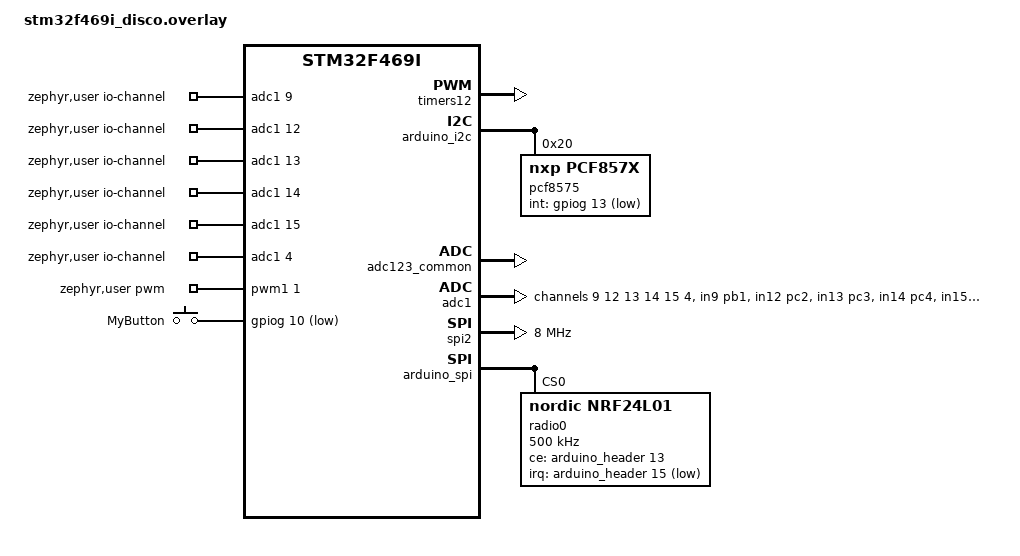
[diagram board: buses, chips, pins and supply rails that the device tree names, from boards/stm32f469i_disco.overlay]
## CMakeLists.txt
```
#-------------------------------------------------------------------------------
# Zephyr Example Application
#
# Copyright (c) 2021 Nordic Semiconductor ASA
# SPDX-License-Identifier: Apache-2.0

cmake_minimum_required(VERSION 3.20.0)
set(SYSCALL_INCLUDE_DIRS "${CMAKE_CURRENT_SOURCE_DIR}/../include")

find_package(Zephyr REQUIRED HINTS $ENV{ZEPHYR_BASE})
include_directories(ui)
project(app LANGUAGES C)
file(GLOB SOURCES src/main.c src/model.c src/model_fs.c src/display_services.c src/platform.h ui/*.h ui/*.c)
target_sources(app PRIVATE ${SOURCES})
```

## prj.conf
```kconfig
# Copyright (c) 2021 Nordic Semiconductor ASA
# SPDX-License-Identifier: Apache-2.0
#
# This file contains selected Kconfig options for the application.

CONFIG_SPI=y
CONFIG_NRF24L01=y
CONFIG_NRF24L01_TRIGGER=y

CONFIG_DMA=y
CONFIG_ADC=y
CONFIG_ADC_STM32_DMA=y
CONFIG_ADC_ASYNC=y
CONFIG_PWM=y

CONFIG_FILE_SYSTEM=y
CONFIG_FILE_SYSTEM_LITTLEFS=y

CONFIG_MIPI_DSI_INIT_PRIORITY=85
CONFIG_DISPLAY_INIT_PRIORITY=86
CONFIG_DISPLAY_OTM8009A_INIT_PRIORITY=87

CONFIG_FLASH=y
CONFIG_FLASH_LOG_LEVEL_DBG=n
CONFIG_FLASH_MAP=y
CONFIG_FLASH_PAGE_LAYOUT=y
CONFIG_MPU_ALLOW_FLASH_WRITE=y
CONFIG_FS_LITTLEFS_FC_HEAP_SIZE=16384

CONFIG_HEAP_MEM_POOL_SIZE=8192

CONFIG_LV_Z_MEM_POOL_SIZE=65536
CONFIG_LV_Z_SHELL=n

CONFIG_MAIN_STACK_SIZE=32768

CONFIG_DISPLAY=y
CONFIG_DISPLAY_LOG_LEVEL_ERR=n

CONFIG_INPUT=y
# CONFIG_INPUT_MODE_THREAD=y

CONFIG_LOG=y
CONFIG_SHELL=n
CONFIG_SYSTEM_WORKQUEUE_PRIORITY=0

CONFIG_GPIO=y
CONFIG_I2C=y
# CONFIG_GPIO_PCF857X=y

CONFIG_SYSTEM_WORKQUEUE_STACK_SIZE=2048

CONFIG_LVGL=y
# CONFIG_LV_USE_DRAW_DMA2D=y
# CONFIG_LV_USE_DRAW_DMA2D_INTERRUPT=y
CONFIG_LV_USE_LOG=y
CONFIG_LV_USE_LABEL=y
CONFIG_LV_USE_ARC=y
#CONFIG_LV_USE_BTN=y
#CONFIG_LV_USE_BTNMATRIX=y
CONFIG_LV_USE_BAR=y
#CONFIG_LV_USE_IMG=y
CONFIG_LV_USE_SWITCH=y
CONFIG_LV_USE_TABVIEW=y
#CONFIG_LV_USE_TAB=y
CONFIG_LV_USE_MONKEY=y
CONFIG_LV_FONT_MONTSERRAT_18=y
CONFIG_LV_FONT_MONTSERRAT_24=y
CONFIG_LV_FONT_MONTSERRAT_40=y
```

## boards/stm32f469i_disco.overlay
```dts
/*
 * Copyright (c) 2025 Philippe Peurichard
 * SPDX-License-Identifier: Apache-2.0
 */

/ {
	zephyr,user {
		/* adjust channel number according to pinmux in board.dts */
		io-channels = <&adc1 9>, <&adc1 12>,
			<&adc1 13>, <&adc1 14>,
			<&adc1 15>, <&adc1 4>;

		/* period cell corresponds to initial period */
		pwms = <&pwm1 1 PWM_HZ(1000) PWM_POLARITY_NORMAL>;
	};

	gpio_keys {
		compatible = "gpio-keys";

		user_button: button {
			label = "MyButton";
			gpios = <&gpiog 10 (GPIO_ACTIVE_LOW|GPIO_PULL_UP)>;
			/* zephyr,code = <INPUT_KEY_0>;*/
		};
	};
};

&flash0 {
	partitions {
		compatible = "fixed-partitions";
		#address-cells = <1>;
		#size-cells = <1>;

		/* Reserve the final two 128 KiB flash sectors for LittleFS. */
		storage_partition: partition@100000 {
			label = "storage";
			reg = <0x100000 DT_SIZE_K(1024)>;
		};
	};
};

&timers12 {
	st,prescaler = <8>;
	status = "okay";

	pwm1: pwm {
		pinctrl-0 = <&tim12_ch1_ph6>;
		pinctrl-names = "default";
		#pwm-cells = <3>;
		status = "okay";
	};
};


/* Activation I2C1 (Arduino connector) */
&arduino_i2c {
    status = "okay";

    pcf8575: gpio_expander@20 {
        compatible = "nxp,pcf857x";
        reg = <0x20>;
        gpio-controller;
        #gpio-cells = <2>;
		ngpios = <16>;
		int-gpios = <&gpiog 13 GPIO_ACTIVE_LOW>;
        status = "okay";
    };
};


&dma2 {
	status = "okay";
};

&adc123_common {
	st,adc-prescaler = <2>;
    status = "okay";
};

&adc1 {
	#address-cells = <1>;
	#size-cells = <0>;
	status = "okay";
	pinctrl-0 = <&adc1_in9_pb1>, <&adc1_in12_pc2>,
		<&adc1_in13_pc3>, <&adc1_in14_pc4>,
		<&adc1_in15_pc5>, <&adc1_in4_pa4>;
	pinctrl-names = "default";

	dmas = <&dma2 0 0 (STM32_DMA_PERIPH_RX | STM32_DMA_PERIPH_16BITS | STM32_DMA_MEM_16BITS ) STM32_DMA_FIFO_FULL>;
	dma-names = "dma";

	channel@9 {
		reg = <9>;
		zephyr,gain = "ADC_GAIN_1";
		zephyr,reference = "ADC_REF_INTERNAL";
		zephyr,acquisition-time = <ADC_ACQ_TIME_MAX>;
		zephyr,resolution = <12>;
	};
	channel@c {
		reg = <0xc>;
		zephyr,gain = "ADC_GAIN_1";
		zephyr,reference = "ADC_REF_INTERNAL";
		zephyr,acquisition-time = <ADC_ACQ_TIME_MAX>;
		zephyr,resolution = <12>;
	};
	channel@d {
		reg = <0xd>;
		zephyr,gain = "ADC_GAIN_1";
		zephyr,reference = "ADC_REF_INTERNAL";
		zephyr,acquisition-time = <ADC_ACQ_TIME_MAX>;
		zephyr,resolution = <12>;
	};
	channel@e {
		reg = <0xe>;
		zephyr,gain = "ADC_GAIN_1";
		zephyr,reference = "ADC_REF_INTERNAL";
		zephyr,acquisition-time = <ADC_ACQ_TIME_MAX>;
		zephyr,resolution = <12>;
	};
	channel@f {
		reg = <0xf>;
		zephyr,gain = "ADC_GAIN_1";
		zephyr,reference = "ADC_REF_INTERNAL";
		zephyr,acquisition-time = <ADC_ACQ_TIME_MAX>;
		zephyr,resolution = <12>;
	};
	channel@4 {
		reg = <4>;
		zephyr,gain = "ADC_GAIN_1";
		zephyr,reference = "ADC_REF_INTERNAL";
		zephyr,acquisition-time = <ADC_ACQ_TIME_MAX>;
		zephyr,resolution = <12>;
	};
};

&spi2 {
	cs-gpios = <&arduino_header 10 (GPIO_ACTIVE_LOW|GPIO_PULL_UP)>;
	clock-frequency = <8000000>; // Max 8 Mbps for SPI

};

&ltdc {
	display-controller = <&panel>;
};

&arduino_spi {
	radio0: nrf24@0 {
		reg = <0>;
		compatible = "nordic,nrf24l01";
		status = "okay";
		addr-width = <5>;
		spi-max-frequency = <500000>; // Max 8 Mbps for SPI
		ce-gpios = <&arduino_header 13 GPIO_ACTIVE_HIGH>; /* D7 */
		irq-gpios = <&arduino_header 15 GPIO_ACTIVE_LOW>; /* D9 */
		channel-frequency = <76>;
		lna-gain;
		rf-power-attenuation = <18>;
		tx-address = [01 00 00 00 01]; // [ab cd ab cd 71];
		payload-fixed-size = <32>;
		rx-datapipes-number = <2>;
		rx-datapipe0-address = [01 00 00 00 01]; // [ab cd ab cd 71];
		rx-datapipe1-address = [ff 00 00 00 ff]; // [ab cd ab cd 72];
		/* payload-ack; */
		payload-crc;
		crc-encoding-twobytes;
	};
};
```

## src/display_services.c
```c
/*
 * Copyright (c) 2026 Philippe Peurichard
 * SPDX-License-Identifier: Apache-2.0
 */

#include "display_services.h"

#include <errno.h>

#include <zephyr/drivers/display.h>
#include <zephyr/logging/log.h>

LOG_MODULE_REGISTER(display_services, CONFIG_LOG_DEFAULT_LEVEL);

static int schedule_timeout_locked(struct display_idle_service *service)
{
	int rc = k_work_reschedule(&service->timeout_work,
				   K_MSEC(service->inactivity_timeout_ms));

	return rc < 0 ? rc : 0;
}

static void display_idle_timeout(struct k_work *work)
{
	struct k_work_delayable *delayable = k_work_delayable_from_work(work);
	struct display_idle_service *service =
		CONTAINER_OF(delayable, struct display_idle_service, timeout_work);
	int rc;

	k_mutex_lock(&service->lock, K_FOREVER);
	if (!service->running || service->state == DISPLAY_IDLE_STATE_OFF) {
		k_mutex_unlock(&service->lock);
		return;
	}

	rc = display_blanking_on(service->display);
	
	service->state = DISPLAY_IDLE_STATE_OFF;
	LOG_INF("Display panel blanked after inactivity");

	k_mutex_unlock(&service->lock);
}

int display_idle_service_init(struct display_idle_service *service,
			      const struct device *display,
			      uint32_t inactivity_timeout_ms)
{
	if (service == NULL || display == NULL || inactivity_timeout_ms == 0U) {
		return -EINVAL;
	}
	if (!device_is_ready(display)) {
		return -ENODEV;
	}

	service->display = display;
	service->inactivity_timeout_ms = inactivity_timeout_ms;
	service->state = DISPLAY_IDLE_STATE_ON;
	service->running = false;
	k_mutex_init(&service->lock);
	k_work_init_delayable(&service->timeout_work, display_idle_timeout);

	return 0;
}

int display_idle_service_start(struct display_idle_service *service)
{
	int rc;

	if (service == NULL || service->display == NULL) {
		return -EINVAL;
	}

	k_mutex_lock(&service->lock, K_FOREVER);
	service->running = true;
	rc = schedule_timeout_locked(service);
	if (rc < 0) {
		service->running = false;
	}
	k_mutex_unlock(&service->lock);

	return rc;
}

int display_idle_service_note_activity(struct display_idle_service *service)
{
	int rc;

	if (service == NULL || service->display == NULL) {
		return -EINVAL;
	}

	k_mutex_lock(&service->lock, K_FOREVER);
	if (!service->running) {
		k_mutex_unlock(&service->lock);
		return -EACCES;
	}

	rc = service->state == DISPLAY_IDLE_STATE_ON
		     ? schedule_timeout_locked(service)
		     : 0;
	k_mutex_unlock(&service->lock);

	return rc;
}

int display_idle_service_stop(struct display_idle_service *service)
{
	struct k_work_sync sync;

	if (service == NULL || service->display == NULL) {
		return -EINVAL;
	}

	k_mutex_lock(&service->lock, K_FOREVER);
	service->running = false;
	k_mutex_unlock(&service->lock);

	(void)k_work_cancel_delayable_sync(&service->timeout_work, &sync);
	return 0;
}

int display_touch_wake_service_init(
	struct display_touch_wake_service *service,
	struct display_idle_service *idle_service)
{
	if (service == NULL || idle_service == NULL ||
	    idle_service->display == NULL) {
		return -EINVAL;
	}

	service->idle_service = idle_service;
	service->main_screen_requested = false;
	return 0;
}

int display_touch_wake_service_on_touch(
	struct display_touch_wake_service *service)
{
	struct display_idle_service *idle_service;
	int rc = 0;

	if (service == NULL || service->idle_service == NULL) {
		return -EINVAL;
	}

	idle_service = service->idle_service;
	k_mutex_lock(&idle_service->lock, K_FOREVER);
	if (!idle_service->running) {
		k_mutex_unlock(&idle_service->lock);
		return -EACCES;
	}

	if (idle_service->state == DISPLAY_IDLE_STATE_OFF) {
		rc = display_blanking_off(idle_service->display);
		if (rc < 0) {
			LOG_ERR("Failed to restore display (%d)", rc);
			k_mutex_unlock(&idle_service->lock);
			return rc;
		}
		idle_service->state = DISPLAY_IDLE_STATE_ON;
		service->main_screen_requested = true;
		LOG_INF("Touchscreen restored display panel");
	}

	rc = schedule_timeout_locked(idle_service);
	k_mutex_unlock(&idle_service->lock);

	return rc;
}

bool display_touch_wake_service_take_main_screen_request(
	struct display_touch_wake_service *service)
{
	bool requested;

	if (service == NULL || service->idle_service == NULL) {
		return false;
	}

	k_mutex_lock(&service->idle_service->lock, K_FOREVER);
	requested = service->main_screen_requested;
	service->main_screen_requested = false;
	k_mutex_unlock(&service->idle_service->lock);

	return requested;
}
```

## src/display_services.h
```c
/*
 * Copyright (c) 2026 Philippe Peurichard
 * SPDX-License-Identifier: Apache-2.0
 */

#ifndef DISPLAY_SERVICES_H
#define DISPLAY_SERVICES_H

#include <stdbool.h>
#include <stdint.h>

#include <zephyr/device.h>
#include <zephyr/kernel.h>

#define DISPLAY_IDLE_DEFAULT_TIMEOUT_MS 30000U

#ifdef __cplusplus
extern "C" {
#endif

enum display_idle_state {
	DISPLAY_IDLE_STATE_ON,
	DISPLAY_IDLE_STATE_OFF,
};

struct display_idle_service {
	const struct device *display;
	struct k_work_delayable timeout_work;
	struct k_mutex lock;
	uint32_t inactivity_timeout_ms;
	enum display_idle_state state;
	bool running;
};

struct display_touch_wake_service {
	struct display_idle_service *idle_service;
	bool main_screen_requested;
};

/**
 * @brief Initialize the inactivity timeout service.
 *
 * @param service Service state to initialize.
 * @param display Zephyr display device, normally DEVICE_DT_GET(DT_CHOSEN(zephyr_display)).
 * @param inactivity_timeout_ms Idle time before the panel is blanked.
 * @return 0 on success, or a negative error code.
 */
int display_idle_service_init(struct display_idle_service *service,
			      const struct device *display,
			      uint32_t inactivity_timeout_ms);

/**
 * @brief Start the inactivity timer.
 *
 * When the timeout expires, the service blanks the panel using the Zephyr
 * display API. The touch controller is not stopped or powered down.
 *
 * @param service Initialized service.
 * @return 0 on success, or a negative error code.
 */
int display_idle_service_start(struct display_idle_service *service);

/**
 * @brief Restart the inactivity timer after non-touch user activity.
 *
 * Does not turn the display back on if it is already blanked.
 *
 * @param service Initialized, running service.
 * @return 0 on success, or a negative error code.
 */
int display_idle_service_note_activity(struct display_idle_service *service);

/**
 * @brief Stop the inactivity timer.
 *
 * @param service Initialized service.
 * @return 0 on success, or a negative error code.
 */
int display_idle_service_stop(struct display_idle_service *service);

/**
 * @brief Initialize touchscreen wake handling for an idle service.
 *
 * @param service Touch wake service state to initialize.
 * @param idle_service Initialized inactivity service to control.
 * @return 0 on success, or a negative error code.
 */
int display_touch_wake_service_init(
	struct display_touch_wake_service *service,
	struct display_idle_service *idle_service);

/**
 * @brief Handle a touchscreen contact-down event.
 *
 * Call from the FT5336/Zephyr input callback on touch-down events only.
 * While the panel is blanked, this restores it through the Zephyr display
 * API and requests SCREEN_ID_MAIN; the UI thread must consume that request.
 * While it is on, the touch restarts the inactivity timer.
 *
 * @param service Initialized touch wake service.
 * @return 0 on success, or a negative error code.
 */
int display_touch_wake_service_on_touch(
	struct display_touch_wake_service *service);

/**
 * @brief Consume a pending request to load the main screen.
 *
 * Call from the UI-owning thread so LVGL screen changes are not made from the
 * Zephyr input thread.
 *
 * @param service Initialized touch wake service.
 * @return true if the caller should load SCREEN_ID_MAIN.
 */
bool display_touch_wake_service_take_main_screen_request(
	struct display_touch_wake_service *service);

#ifdef __cplusplus
}
#endif

#endif /* DISPLAY_SERVICES_H */
```

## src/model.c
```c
/*
 * model.c
 *
 * Persistent model storage section definition.
 * The model array is placed in a dedicated linker section so it can be
 * stored in flash / read-only storage.
 */

#include "model.h"
#include "model_fs.h"
#include "vars.h"
#include <zephyr/logging/log.h>

#include <errno.h>
#include <string.h>

LOG_MODULE_REGISTER(model, CONFIG_LOG_DEFAULT_LEVEL);

/* This variable holds the currently active model data used by the UI.
 * It also holds rf data from the remote controller.
 */

model_t active_model;

/* this is a temporary model used for creating or adding new models
 * into the persistent storage */

static model_t new_model;

#define MODEL_MIN_SPAN (127)

/* Adjust the minimum value of target RF based on a percentage
   For the minimum value, we want
        1. 100% to 0 (lowest value)
        2. 0% to MODEL_MIN_SPAN (Middle range value)
*/

static uint8_t model_percentage_to_min(int32_t percentage)
{
    if (percentage < 0) {
        percentage = 0;
    } else if (percentage > 100) {
        percentage = 100;
    }

    return ((100 - percentage) * MODEL_MIN_SPAN) / 100;
}

static uint8_t model_min_to_percentage(uint8_t min)
{
    if (min < 0) {
        min = 0;
    } else if (min > MODEL_MIN_SPAN) {
        min = MODEL_MIN_SPAN;
    }

    return 100 - ((min * 100) / MODEL_MIN_SPAN);
}

static uint8_t model_percentage_to_max(uint8_t percentage)
{
    if (percentage < 0) {
        percentage = 0;
    } else if (percentage > 100) {
        percentage = 100;
    }

    return 255 - ((100 - percentage) * MODEL_MIN_SPAN) / 100;
}

static uint8_t model_max_to_percentage(uint8_t max)
{
    if (max < MODEL_MIN_SPAN) {
        max = MODEL_MIN_SPAN;
    } else if (max > 255) {
        max = 255;
    }

    return 100 - ((255 - max) * 100) / MODEL_MIN_SPAN;
}

/**
 * @brief Create a new model with default settings.
 *
 * use local static temporary model.
 *
 * @param name Null-terminated model name.
 * @return 0 or error code.
 */
static int model_create(const char *name)
{
    memset(new_model.name, '\0', MODEL_NAME_MAX);

    for (uint8_t j = 0; j < MAX_CHANNELS; j++) {
        new_model.ch[j].min = 0+CALIBRATION_OFFSET;
        new_model.ch[j].max = ADC_MAX_VALUE-CALIBRATION_OFFSET;
        new_model.ch[j].center = ADC_MAX_VALUE / 2;
        new_model.ch[j].input = ADC_MAX_VALUE / 2;
        new_model.ch[j].min_end_point = 0;
        new_model.ch[j].max_end_point = 255;
        new_model.ch[j].is_reversed = false;
        new_model.ch[j].map = def_map;
    }
            
    new_model.used = true;
    strncpy(new_model.name, name, MODEL_NAME_MAX - 1);
    new_model.name[MODEL_NAME_MAX - 1] = '\0';

    return 0;
}
/**
 * @brief Initialize the model system and load the active model.
 * if no model is found, create a default model.
 * 
 * @param none
 * 
 * @return 0 on success, error code on failure.
 */ 
int model_init(void)
{
    char buf[MODEL_MAX_COUNT][MODEL_NAME_MAX] = {0};
	size_t models_num = 0;
    int rc = model_fs_init();
    
	if (rc != 0) {
		LOG_ERR("model_fs_init failed (%d)", rc);
        return rc;
    }

	rc = model_fs_list_models(buf, &models_num);
	if (rc < 0) {
		LOG_ERR("model_fs_list_models failed (%d)", rc);
		return rc;
	}

	if (models_num == 0) {
		LOG_INF("No models found, creating default model");
		rc = model_add("Default Model\0");
		if (rc != 0) {
			LOG_ERR("Failed to create default model");
			return rc;
		}
		LOG_INF("Default model created successfully");

		rc = model_fs_list_models(buf, &models_num);
		if (rc < 0 || models_num == 0U) {
			LOG_ERR("Failed to list newly created default model: %d", rc);
			return rc < 0 ? rc : -EIO;
		}
	} else {
		LOG_INF("%zu models found", models_num);
	}
	/* Set the first model as the active device */
	rc = model_load(buf[0]);
	if (rc != 0) {
		LOG_ERR("Failed to load initial model");
		return rc;
	}

	/* Populate device list from file system */
	for (size_t i = 0; i < models_num; i++) {
    	set_var_device_list(buf[i]);
	}
    return 0;
}
/**
 * @brief Add a new model with the given name.
 * 
 * @param name Null-terminated model name.
 * @return 0 on success, error code on failure.
 */
int model_add(const char *name)
{
    int rc = model_create(name);
    if (rc != 0) {
        LOG_ERR("Failed to create model '%s': %d", name, rc);
        return rc;
    }
    rc = model_fs_save_model(name, &new_model);
    if (rc != 0) {
        LOG_ERR("Failed to save model '%s' to storage: %d", name, rc);
        return rc;
    }
    /* Set the newly created model as the active device */
    model_load(name);
    /* Update device list in UI */
    set_var_device_list(name);

    return 0;
}


/**
 * @brief Load the active model channel map.
 *
 * Loads the model identified by the given name into the active model
 * Set UI parameters from active_model.
 *
 * @param name Pointer to model name.
 * @return 0 or error code.
 */
int model_load(const char *model_name)
{
    int rc = model_fs_load_model(model_name, &active_model);

    if (rc != 0) {
        LOG_ERR("Failed to load model '%s' from storage: %d", model_name, rc);
        return rc;
    }
    memcpy(active_model.name, model_name, MODEL_NAME_MAX);

    set_var_reverse1(active_model.ch[ROULIS].is_reversed);
	set_var_reverse2(active_model.ch[TANGAGE].is_reversed);
	set_var_reverse3(active_model.ch[GAZ].is_reversed);
	set_var_reverse4(active_model.ch[LACET].is_reversed);
    active_model.used = true; // Ensure the slot is marked as used
    set_var_device_name(active_model.name);
    set_var_ch1_min(model_min_to_percentage(active_model.ch[ROULIS].min_end_point));
    set_var_ch2_min(model_min_to_percentage(active_model.ch[TANGAGE].min_end_point));
    set_var_ch3_min(model_min_to_percentage(active_model.ch[GAZ].min_end_point));
    set_var_ch4_min(model_min_to_percentage(active_model.ch[LACET].min_end_point));
    set_var_ch1_max(model_max_to_percentage(active_model.ch[ROULIS].max_end_point));
    set_var_ch2_max(model_max_to_percentage(active_model.ch[TANGAGE].max_end_point));
    set_var_ch3_max(model_max_to_percentage(active_model.ch[GAZ].max_end_point));
    set_var_ch4_max(model_max_to_percentage(active_model.ch[LACET].max_end_point));

	return rc;
}

/**
 * @brief Save channel map data into an existing model slot.
 *
 * @param map Pointer to channel map data.
 * @return 0 on success, error code on failure.
 */
int model_store(const struct channel_map *map)
{
    active_model.used = true; // Ensure the slot is marked as used
    memcpy(active_model.name, get_var_device_name(), MODEL_NAME_MAX);
    for (int i = 0; i < MAX_CHANNELS; i++) {
        memcpy(&active_model.ch[i], &map[i], sizeof(struct channel_map));
    }

    active_model.ch[ROULIS].is_reversed = get_var_reverse1();
	active_model.ch[TANGAGE].is_reversed = get_var_reverse2();
	active_model.ch[GAZ].is_reversed = get_var_reverse3();
	active_model.ch[LACET].is_reversed = get_var_reverse4();

    active_model.ch[ROULIS].min_end_point = model_percentage_to_min(get_var_ch1_min());
    active_model.ch[TANGAGE].min_end_point = model_percentage_to_min(get_var_ch2_min());
    active_model.ch[GAZ].min_end_point = model_percentage_to_min(get_var_ch3_min());
    active_model.ch[LACET].min_end_point = model_percentage_to_min(get_var_ch4_min());
    active_model.ch[ROULIS].max_end_point = model_percentage_to_max(get_var_ch1_max());
    active_model.ch[TANGAGE].max_end_point = model_percentage_to_max(get_var_ch2_max());
    active_model.ch[GAZ].max_end_point = model_percentage_to_max(get_var_ch3_max());
    active_model.ch[LACET].max_end_point = model_percentage_to_max(get_var_ch4_max());

    /* Save the model to persistent storage */
    return model_fs_save_model(active_model.name, &active_model);
}

/**
 * @brief Remove a model from persistent storage by name.
 * Warning: if model to remove is the active model
 * active_model will hold another model from persistent storage
 * or will hold a default model with default values if no other model
 * is found
 * 
 * @param model_name Pointer to the name of the model to remove.
 * @return 0 on success, error code on failure.
 */
int model_remove(char *model_name)
{
    int rc = 0;

    /* check if model name corresponds to active_model.name */
    if (strcmp(model_name, active_model.name) == 0) {
        /* check if another model exists by listing models */
        char model_list[MODEL_MAX_COUNT][MODEL_NAME_MAX] = {0};
        size_t model_count = 0;

        /* First of all, remove the model from persistent storage */
        rc = model_fs_delete_model(model_name);
        /* Refresh the device list */
        set_var_device_list("");

        if (rc != 0) {
            LOG_ERR("Failed to remove model '%s' from storage: %d", model_name, rc);
            return rc;
        }
        rc = model_fs_list_models(model_list, &model_count);
        if (rc != 0) {
            LOG_ERR("Failed to list models: %d", rc);
            return rc;
        }
        if (model_count > 0) {
            /* load the first model that is not the one being removed */
            for (size_t i = 0; i < model_count; i++) {
                if (strcmp(model_list[i], model_name) != 0) {
                    rc = model_load(model_list[i]);
                    if (rc != 0) {
                        LOG_ERR("Failed to load model '%s': %d", model_list[i], rc);
                        return rc;
                    }
                    break;
                }
            }
        } else {
            /* No other models exist, create a default model */
            LOG_INF("No other models found, creating default model");
            model_create("Default Model");
            set_var_ch1_min(model_min_to_percentage(new_model.ch[ROULIS].min_end_point));
            set_var_ch2_min(model_min_to_percentage(new_model.ch[TANGAGE].min_end_point));
            set_var_ch3_min(model_min_to_percentage(new_model.ch[GAZ].min_end_point));
            set_var_ch4_min(model_min_to_percentage(new_model.ch[LACET].min_end_point));
            set_var_ch1_max(model_max_to_percentage(new_model.ch[ROULIS].max_end_point));
            set_var_ch2_max(model_max_to_percentage(new_model.ch[TANGAGE].max_end_point));
            set_var_ch3_max(model_max_to_percentage(new_model.ch[GAZ].max_end_point));
            set_var_ch4_max(model_max_to_percentage(new_model.ch[LACET].max_end_point));
            rc = model_store(new_model.ch);
            set_var_device_list("");
            if (rc != 0) {
                LOG_ERR("Failed to save default model: %d", rc);
                return rc;
            }
        }
    } else {
        /* If the model being removed is not the active model, do nothing */
        LOG_INF("Removing model '%s' which is not the active model", model_name);
        rc = model_fs_delete_model(model_name);
        set_var_device_list("");
        if (rc != 0) {
            LOG_ERR("Failed to remove model '%s' from storage: %d", model_name, rc);
            return rc;
        }
    }
    return rc; // Success
}

int model_recover_during_init(void) {

    int rc = 0;

    LOG_INF("Entering recovery process: Erasing all models and reinitializing model storage");
    rc = model_fs_erase_all();

    if (rc != 0) {
        LOG_ERR("model_fs_erase_all failed (%d)", rc);
        return rc;
    }
    LOG_INF("Reinitializing model storage after erase");
    return rc;
}
```

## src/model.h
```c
/*
 * model.h
 *
 * Simple model management for RC remote controller application.
 * A "model" is a named set of settings (opaque byte buffer).
 * Supports up to MODEL_MAX_COUNT models.
 */
#ifndef RC_REMOTE_CONTROLLER_MODEL_H
#define RC_REMOTE_CONTROLLER_MODEL_H

#include <stdint.h>
#include <stddef.h>
#include <stdbool.h>
#include "platform.h"

#ifdef __cplusplus
extern "C" {
#endif

/* Configuration */
#ifndef MODEL_MAX_COUNT
#define MODEL_MAX_COUNT 6
#endif

#ifndef MODEL_NAME_MAX
#define MODEL_NAME_MAX 32
#endif

/* Channel mapping function type and structure
 * These match the application's channel mapping concept and allow
 * models to store per-channel mapping settings directly.
 */
typedef uint8_t (*map_t)(
    const uint16_t min,
    const uint16_t max,
    const uint16_t center,
          uint16_t data,
    const uint8_t  min_end_point,
    const uint8_t  max_end_point,
    const bool is_reversed);

struct channel_map {
    uint16_t min;
    uint16_t max;
    uint16_t center;
    uint16_t input;
    uint8_t min_end_point;
    uint8_t max_end_point;
    bool is_reversed;
    map_t map;
};

/* Model stores a named `struct channel_map` as its payload. */
typedef struct {
    bool used;                          /* slot in use */
    char name[MODEL_NAME_MAX];          /* NUL-terminated name */
    struct channel_map ch[MAX_CHANNELS];              /* channel mapping data */
} model_t;

/* The persistent model list is placed in a dedicated linker section.
 * Using `.rodata.model_data` keeps the array in read-only flash storage,
 * and __attribute__((used)) prevents the linker from discarding it.
 */
extern model_t active_model;


extern uint8_t def_map(
	const uint16_t min,
	const uint16_t max,
	const uint16_t center,
	      uint16_t data,
    const uint8_t  min_end_point,
    const uint8_t  max_end_point,
	const bool is_reversed);

/* Initialize UI active model & UI model list.
 * Returns 0 on success, error code on error.
 */
int model_init(void);

/* Add a new model with the given name .
 * Returns 0 or error code.
 */
int model_add(const char *name);

/* Store active model in persistent storage.
 * Returns 0 on success, error code on error
 */
int model_store(const struct channel_map *map);

/* Remove a model based on its name. 
 * Returns 0 on success, error code on error.
 */
int model_remove(char *model_name);

/* Load a model and make it the active model.
 * return 0 or error code.
 */
int model_load(const char *model_name);

int model_recover_during_init(void);

#ifdef __cplusplus
}
#endif

#endif /* RC_REMOTE_CONTROLLER_MODEL_H */
```

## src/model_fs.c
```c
/*
 * model_fs.c
 *
 * LittleFS-backed persistence helpers for storing RC model settings
 * in a dedicated flash partition on the STM32F469I-DISCO board.
 */

#include "model_fs.h"

#include <zephyr/fs/fs.h>
#include <zephyr/fs/littlefs.h>
#include <zephyr/storage/flash_map.h>
#include <zephyr/logging/log.h>

#include <ctype.h>
#include <errno.h>
#include <stdio.h>
#include <string.h>

LOG_MODULE_REGISTER(model_fs, CONFIG_LOG_DEFAULT_LEVEL);

#define MODEL_FS_MAGIC 0x52434D44u /* "RCMD" */
#define MODEL_FS_VERSION 3u
#define MODEL_FS_LEGACY_VERSION 1u

#define MODEL_FS_MOUNT_POINT "/lfs"
#define MODEL_FS_MODELS_DIR MODEL_FS_MOUNT_POINT "/models"

#define MODEL_FS_MODEL_NAME_LEN (MODEL_NAME_MAX)

struct model_channel_blob {
	uint16_t min;
	uint16_t max;
	uint16_t center;
	uint16_t input;
	uint8_t min_end_point;
	uint8_t max_end_point;
	uint8_t is_reversed;
};

struct model_blob {
	uint32_t magic;
	uint32_t version;
	char name[MODEL_FS_MODEL_NAME_LEN];
	struct model_channel_blob ch[MAX_CHANNELS];
};

FS_LITTLEFS_DECLARE_DEFAULT_CONFIG(storage_lfs);

// FS_LITTLEFS_DECLARE_CUSTOM_CONFIG(storage_lfs, 4, 1, 16, 256, 32);

static struct fs_mount_t model_fs_mount = {
	.type = FS_LITTLEFS,
	.fs_data = &storage_lfs,
	.storage_dev = (void *)PARTITION_ID(storage_partition),
	.mnt_point = MODEL_FS_MOUNT_POINT,
};

static void model_to_blob(const model_t *model, struct model_blob *blob)
{
	memset(blob, 0, sizeof(*blob));
	blob->magic = MODEL_FS_MAGIC;
	blob->version = MODEL_FS_VERSION;

	strncpy(blob->name, model->name, sizeof(blob->name) - 1);
	blob->name[sizeof(blob->name) - 1] = '\0';

	for (int i = 0; i < MAX_CHANNELS; i++) {
		blob->ch[i].min = model->ch[i].min;
		blob->ch[i].max = model->ch[i].max;
		blob->ch[i].center = model->ch[i].center;
		blob->ch[i].input = model->ch[i].input;
		blob->ch[i].min_end_point = model->ch[i].min_end_point;
		blob->ch[i].max_end_point = model->ch[i].max_end_point;
		blob->ch[i].is_reversed = model->ch[i].is_reversed ? 1u : 0u;
	}
}

static void blob_to_model(const struct model_blob *blob, model_t *model)
{
	memset(model, 0, sizeof(*model));
	model->used = true;

	strncpy(model->name, blob->name, sizeof(model->name) - 1);
	model->name[sizeof(model->name) - 1] = '\0';

	for (int i = 0; i < MAX_CHANNELS; i++) {
		model->ch[i].min = blob->ch[i].min;
		model->ch[i].max = blob->ch[i].max;
		model->ch[i].center = blob->ch[i].center;
		model->ch[i].input = blob->ch[i].input;
		model->ch[i].min_end_point = blob->ch[i].min_end_point;
		model->ch[i].max_end_point = blob->ch[i].max_end_point;
		model->ch[i].is_reversed = blob->ch[i].is_reversed ? true : false;
		model->ch[i].map = def_map;
	}
}

static int validate_model_name(const char *name)
{
	size_t i;

	if (name == NULL) {
		return -EINVAL;
	}

	for (i = 0; i < MODEL_NAME_MAX; i++) {
		unsigned char ch = (unsigned char)name[i];

		if (ch == '\0') {
			return (i > 0) ? 0 : -EINVAL;
		}
		if (i == MODEL_NAME_MAX - 1U) {
			return -ENAMETOOLONG;
		}
		if (ch == '/' || ch == '\\') {
			return -EINVAL;
		}
	}

	return -ENAMETOOLONG;
}

static int build_model_path(const char *name, char *out, size_t out_len)
{
	int rc = validate_model_name(name);
	int written;

	if (rc != 0) {
		return rc;
	}

	written = snprintf(out, out_len, "%s/%s.bin", MODEL_FS_MODELS_DIR, name);
	if (written < 0 || (size_t)written >= out_len) {
		return -ENAMETOOLONG;
	}

	return 0;
}

static int ensure_models_dir(void)
{
	struct fs_dirent entry;
	int rc = fs_stat(MODEL_FS_MODELS_DIR, &entry);

	if (rc == 0) {
		return entry.type == FS_DIR_ENTRY_DIR ? 0 : -ENOTDIR;
	}
	if (rc != -ENOENT) {
		return rc;
	}

	rc = fs_mkdir(MODEL_FS_MODELS_DIR);
	if (rc == -EEXIST) {
		rc = fs_stat(MODEL_FS_MODELS_DIR, &entry);
		if (rc == 0 && entry.type == FS_DIR_ENTRY_DIR) {
			return 0;
		}
		return rc != 0 ? rc : -ENOTDIR;
	}

	return rc;
}

static int modelfs_mount(void)
{
	int rc = fs_mount(&model_fs_mount);

	if (rc != 0 ) {
		LOG_ERR("Failed to mount LittleFS: %d", rc);
		return rc;
	}

	LOG_INF("LittleFS mounted at %s", MODEL_FS_MOUNT_POINT);

	/* Ensure the models directory exists without erasing existing storage. */
	rc = ensure_models_dir();

	if (rc != 0) {
		LOG_ERR("Failed to prepare %s: %d", MODEL_FS_MODELS_DIR, rc);
		return rc;
	}

	LOG_INF("LittleFS %s ready for use", MODEL_FS_MOUNT_POINT);
	return rc;
}

static int modelfs_write_blob(const char *path, const struct model_blob *blob)
{
	struct fs_file_t file;
	int rc;

	fs_file_t_init(&file);

	rc = fs_open(&file, path, FS_O_CREATE | FS_O_WRITE | FS_O_TRUNC);
	if (rc != 0) {
		LOG_ERR("fs_open(%s) failed: %d", path, rc);
		return rc;
	}

	rc = fs_write(&file, blob, sizeof(*blob));
	if (rc < 0) {
		LOG_ERR("fs_write(%s) failed: %d", path, rc);
		fs_close(&file);
		return rc;
	}

	if ((size_t)rc != sizeof(*blob)) {
		LOG_ERR("Short write for %s: got %d bytes", path, rc);
		fs_close(&file);
		return -EIO;
	}

	rc = fs_close(&file);
	if (rc != 0) {
		LOG_ERR("fs_close(%s) failed: %d", path, rc);
		return rc;
	}

	return 0;
}

static int modelfs_read_blob(const char *path, struct model_blob *blob)
{
	struct fs_file_t file;
	int rc;

	fs_file_t_init(&file);

	rc = fs_open(&file, path, FS_O_READ);
	if (rc != 0) {
		LOG_ERR("fs_open(%s) failed: %d", path, rc);
		return rc;
	}

	rc = fs_read(&file, blob, sizeof(*blob));
	fs_close(&file);
	if (rc < 0) {
		LOG_ERR("fs_read(%s) failed: %d", path, rc);
		return rc;
	}

	if ((size_t)rc != sizeof(*blob)) {
		LOG_ERR("Short read for %s: got %d bytes", path, rc);
		return -EIO;
	}

	return 0;
}

int model_fs_init(void)
{
	return modelfs_mount();
}

int model_fs_save_model(const char *name, const model_t *model)
{
	char path[128];
	struct model_blob blob;
	int rc;

	if (name == NULL || model == NULL) {
		return -EINVAL;
	}
	if (validate_model_name(model->name) != 0 || strcmp(name, model->name) != 0) {
		return -EINVAL;
	}

	rc = build_model_path(name, path, sizeof(path));
	if (rc != 0) {
		return rc;
	}

	model_to_blob(model, &blob);
	return modelfs_write_blob(path, &blob);
}

int model_fs_load_model(const char *name, model_t *model)
{
	char path[128];
	struct model_blob blob;
	int rc;

	if (name == NULL || model == NULL) {
		return -EINVAL;
	}

	rc = build_model_path(name, path, sizeof(path));
	if (rc != 0) {
		return rc;
	}

	rc = modelfs_read_blob(path, &blob);
	if (rc != 0) {
		return rc;
	}

	if (blob.magic != MODEL_FS_MAGIC ||
	    (blob.version != MODEL_FS_VERSION &&
	     blob.version != MODEL_FS_LEGACY_VERSION) ||
	    validate_model_name(blob.name) != 0 || strcmp(blob.name, name) != 0) {
		LOG_ERR("Invalid model blob in %s", path);
		return -EIO;
	}

	blob_to_model(&blob, model);
	return 0;
}

int model_fs_delete_model(const char *name)
{
	char path[128];
	int rc;

	if (name == NULL) {
		return -EINVAL;
	}

	rc = build_model_path(name, path, sizeof(path));
	if (rc != 0) {
		return rc;
	}

	rc = fs_unlink(path);
	if (rc == -ENOENT) {
		return 0;
	}

	return rc;
}

int model_fs_list_models(char models[][MODEL_NAME_MAX], size_t *model_count)
{
	struct fs_dir_t dir;
	struct fs_dirent entry;
	static const char suffix[] = ".bin";
	int rc;

	if (models == NULL || model_count == NULL) {
		return -EINVAL;
	}

	*model_count = 0U;
	fs_dir_t_init(&dir);

	rc = fs_opendir(&dir, MODEL_FS_MODELS_DIR);
	if (rc == -ENOENT) {
		return 0;
	}
	if (rc != 0) {
		LOG_ERR("fs_opendir(%s) failed: %d", MODEL_FS_MODELS_DIR, rc);
		return rc;
	}

	while (1) {
		rc = fs_readdir(&dir, &entry);
		if (rc < 0) {
			break;
		}

		if (entry.name[0] == '\0') {
			break;
		}

		if (entry.type == FS_DIR_ENTRY_FILE && *model_count < MODEL_MAX_COUNT) {
			size_t file_name_len = strlen(entry.name);
			size_t model_name_len;

			if (file_name_len <= sizeof(suffix) - 1U ||
			    memcmp(entry.name + file_name_len - (sizeof(suffix) - 1U),
				   suffix, sizeof(suffix) - 1U) != 0) {
				continue;
			}

			model_name_len = file_name_len - (sizeof(suffix) - 1U);
			if (model_name_len >= MODEL_NAME_MAX) {
				continue;
			}

			memcpy(models[*model_count], entry.name, model_name_len);
			models[*model_count][model_name_len] = '\0';
			if (validate_model_name(models[*model_count]) == 0) {
				(*model_count)++;
			}
		}
	}

	fs_closedir(&dir);
	return rc < 0 ? rc : 0;
}

int model_fs_erase_all(void)
{
	const struct flash_area *area;
	int rc;

	rc = flash_area_open(PARTITION_ID(storage_partition), &area);
	if (rc != 0) {
		LOG_ERR("flash_area_open failed: %d", rc);
		return rc;
	}

	rc = flash_area_flatten(area, 0, area->fa_size);
	flash_area_close(area);
	if (rc != 0) {
		LOG_ERR("flash_area_flatten failed: %d", rc);
		return rc;
	}

	rc = fs_unmount(&model_fs_mount);
	if (rc != 0 && rc != -EINVAL) {
		LOG_ERR("fs_unmount failed: %d", rc);
		return rc;
	}

	rc = fs_mount(&model_fs_mount);
	if (rc != 0) {
		LOG_ERR("fs_mount after erase failed: %d", rc);
		return rc;
	}

	LOG_INF("LittleFS storage partition erased and remounted");
	return 0;
}
```

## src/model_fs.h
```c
#ifndef RC_REMOTE_CONTROLLER_MODEL_FS_H
#define RC_REMOTE_CONTROLLER_MODEL_FS_H

#include <stddef.h>
#include <stdint.h>

#include "model.h"

#ifdef __cplusplus
extern "C" {
#endif

int model_fs_init(void);
int model_fs_save_model(const char *name, const model_t *model);
int model_fs_load_model(const char *name, model_t *model);
int model_fs_delete_model(const char *name);
int model_fs_list_models(char models[][MODEL_NAME_MAX], size_t *model_count);
int model_fs_erase_all(void);

#ifdef __cplusplus
}
#endif

#endif /* RC_REMOTE_CONTROLLER_MODEL_FS_H */
```
